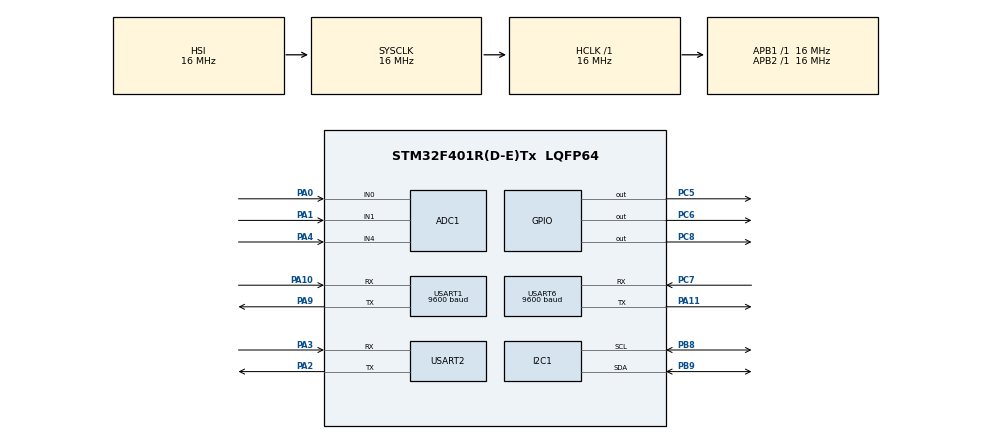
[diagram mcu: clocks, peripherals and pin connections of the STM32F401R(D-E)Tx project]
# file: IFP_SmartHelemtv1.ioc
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ADC1.Channel-0\#ChannelRegularConversion=ADC_CHANNEL_0
ADC1.NbrOfConversionFlag=1
ADC1.Rank-0\#ChannelRegularConversion=1
ADC1.SamplingTime-0\#ChannelRegularConversion=ADC_SAMPLETIME_3CYCLES
ADC1.master=1
Dma.Request0=USART1_RX
Dma.USART1_RX.0.Direction=DMA_PERIPH_TO_MEMORY
Dma.USART1_RX.0.FIFOMode=DMA_FIFOMODE_DISABLE
Dma.USART1_RX.0.Instance=DMA2_Stream2
Dma.USART1_RX.0.MemDataAlignment=DMA_MDATAALIGN_BYTE
Dma.USART1_RX.0.MemInc=DMA_MINC_ENABLE
Dma.USART1_RX.0.Mode=DMA_CIRCULAR
Dma.USART1_RX.0.PeriphDataAlignment=DMA_PDATAALIGN_BYTE
Dma.USART1_RX.0.PeriphInc=DMA_PINC_DISABLE
Dma.USART1_RX.0.Priority=DMA_PRIORITY_LOW
Mcu.Family=STM32F4
Mcu.Name=STM32F401R(D-E)Tx
Mcu.Package=LQFP64
NVIC.DMA2_Stream2_IRQn=true\:0\:0\:false\:false\:true\:false\:true\:true
NVIC.PriorityGroup=NVIC_PRIORITYGROUP_4
NVIC.USART6_IRQn=true\:0\:0\:false\:false\:true\:true\:true\:true
PA0-WKUP.Signal=ADCx_IN0
PA1.Signal=ADCx_IN1
PA10.Mode=Asynchronous
PA10.Signal=USART1_RX
PA11.Mode=Asynchronous
PA11.Signal=USART6_TX
PA2.Mode=Asynchronous
PA2.Signal=USART2_TX
PA3.Mode=Asynchronous
PA3.Signal=USART2_RX
PA4.Signal=ADCx_IN4
PA9.Mode=Asynchronous
PA9.Signal=USART1_TX
PB8.Mode=I2C
PB8.Signal=I2C1_SCL
PB9.Mode=I2C
PB9.Signal=I2C1_SDA
PC5.Signal=GPIO_Output
PC6.Signal=GPIO_Output
PC7.Mode=Asynchronous
PC7.Signal=USART6_RX
PC8.Signal=GPIO_Output
ProjectManager.HeapSize=0x200
ProjectManager.StackSize=0x400
ProjectManager.TargetToolchain=STM32CubeIDE
RCC.AHBFreq_Value=16000000
RCC.APB1Freq_Value=16000000
RCC.APB2Freq_Value=16000000
RCC.CortexFreq_Value=16000000
RCC.HSE_VALUE=25000000
RCC.HSI_VALUE=16000000
RCC.LSE_VALUE=32768
RCC.SYSCLKFreq_VALUE=16000000
RCC.VCOOutputFreq_Value=192000000
SH.ADCx_IN0.0=ADC1_IN0,IN0
SH.ADCx_IN1.0=ADC1_IN1,IN1
SH.ADCx_IN4.0=ADC1_IN4,IN4
USART1.BaudRate=9600
USART1.VirtualMode=VM_ASYNC
USART2.VirtualMode=VM_ASYNC
USART6.BaudRate=9600
USART6.VirtualMode=VM_ASYNC
board=custom

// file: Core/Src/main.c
/* USER CODE BEGIN Header */
/**
  ******************************************************************************
  * @file           : main.c
  * @brief          : Main program body
  ******************************************************************************
  * @attention
  *
  * Copyright (c) 2026 STMicroelectronics.
  * All rights reserved.
  *
  * This software is licensed under terms that can be found in the LICENSE file
  * in the root directory of this software component.
  * If no LICENSE file comes with this software, it is provided AS-IS.
  *
  ******************************************************************************
  */
/* USER CODE END Header */
#include "main.h"

/* USER CODE BEGIN Includes */

#include <stdio.h>
#include <math.h>
#include "ISM330DHCX.h"
#include "GPS.h"
#include "GSM.h"
/* USER CODE END Includes */

/* USER CODE BEGIN PTD */
ISM330DHCX_Handle_t hISM330;
ISM330DHCX_Data_t IMU_Data;

GPS_Handle_t hGPS;
GPS_Data_t GPS_Data;

GSM_Handle_t hGSM;

/* USER CODE END PTD */

ADC_HandleTypeDef hadc1;

I2C_HandleTypeDef hi2c1;

UART_HandleTypeDef huart1;
UART_HandleTypeDef huart2;
UART_HandleTypeDef huart6;
DMA_HandleTypeDef hdma_usart1_rx;

void SystemClock_Config(void);
static void MX_GPIO_Init(void);
static void MX_DMA_Init(void);
static void MX_I2C1_Init(void);
static void MX_USART1_UART_Init(void);
static void MX_USART2_UART_Init(void);
static void MX_ADC1_Init(void);
static void MX_USART6_UART_Init(void);

int main(void)
{

  /* MCU Configuration--------------------------------------------------------*/

  /* Reset of all peripherals, Initializes the Flash interface and the Systick. */
  HAL_Init();

  /* Configure the system clock */
  SystemClock_Config();

  /* Initialize all configured peripherals */
  MX_GPIO_Init();
  MX_DMA_Init();
  MX_I2C1_Init();
  MX_USART1_UART_Init();
  MX_USART2_UART_Init();
  MX_ADC1_Init();
  MX_USART6_UART_Init();
  /* USER CODE BEGIN 2 */

  ISM330DHCX_Init(&hISM330);

  GPS_Init(&hGPS,&huart1);
  GPS_StartDMAReception(&hGPS);

  GSM_Init(&hGSM,&huart6);

  printf("System Initialized\r\n");

  /* USER CODE END 2 */

  /* Infinite loop */
  /* USER CODE BEGIN WHILE */
  while (1)
  {
      /* Read IMU */
      ISM330DHCX_ReadAll(&hISM330, &IMU_Data);

      /* Process GPS DMA buffer */
      GPS_Process(&hGPS);

      printf("ACC: %.2f %.2f %.2f\r\n",
             IMU_Data.AccelX,
             IMU_Data.AccelY,
             IMU_Data.AccelZ);

      printf("GYR: %.2f %.2f %.2f\r\n",
             IMU_Data.GyroX,
             IMU_Data.GyroY,
             IMU_Data.GyroZ);

      /* Accident Detection */
      if( fabs(IMU_Data.AccelX) > 5.0f ||
          fabs(IMU_Data.AccelY) > 5.0f ||
          fabs(IMU_Data.AccelZ) > 5.0f )
      {
          printf("Possible Accident Detected\r\n");

          if(GPS_GetCoordinates(&hGPS,&GPS_Data) == GPS_OK)
          {
              printf("Latitude  : %.6f\r\n",
                     GPS_Data.latitude);

              printf("Longitude : %.6f\r\n",
                     GPS_Data.longitude);

              GSM_SendEmergencySMS(
                      &hGSM,
                      "+919876543210",
                      GPS_Data.latitude,
                      GPS_Data.longitude);

              printf("Emergency SMS Sent\r\n");

              HAL_Delay(10000);
          }
          else
          {
              printf("Waiting for GPS Fix...\r\n");
          }

      }

      HAL_Delay(100);

    /* USER CODE END WHILE */

  }
}

void SystemClock_Config(void)
{
  RCC_OscInitTypeDef RCC_OscInitStruct = {0};
  RCC_ClkInitTypeDef RCC_ClkInitStruct = {0};

  /** Configure the main internal regulator output voltage
  */
  __HAL_RCC_PWR_CLK_ENABLE();
  __HAL_PWR_VOLTAGESCALING_CONFIG(PWR_REGULATOR_VOLTAGE_SCALE2);

  /** Initializes the RCC Oscillators according to the specified parameters
  * in the RCC_OscInitTypeDef structure.
  */
  RCC_OscInitStruct.OscillatorType = RCC_OSCILLATORTYPE_HSI;
  RCC_OscInitStruct.HSIState = RCC_HSI_ON;
  RCC_OscInitStruct.HSICalibrationValue = RCC_HSICALIBRATION_DEFAULT;
  RCC_OscInitStruct.PLL.PLLState = RCC_PLL_NONE;
  if (HAL_RCC_OscConfig(&RCC_OscInitStruct) != HAL_OK)
  {
    Error_Handler();
  }

  /** Initializes the CPU, AHB and APB buses clocks
  */
  RCC_ClkInitStruct.ClockType = RCC_CLOCKTYPE_HCLK|RCC_CLOCKTYPE_SYSCLK
                              |RCC_CLOCKTYPE_PCLK1|RCC_CLOCKTYPE_PCLK2;
  RCC_ClkInitStruct.SYSCLKSource = RCC_SYSCLKSOURCE_HSI;
  RCC_ClkInitStruct.AHBCLKDivider = RCC_SYSCLK_DIV1;
  RCC_ClkInitStruct.APB1CLKDivider = RCC_HCLK_DIV1;
  RCC_ClkInitStruct.APB2CLKDivider = RCC_HCLK_DIV1;

  if (HAL_RCC_ClockConfig(&RCC_ClkInitStruct, FLASH_LATENCY_0) != HAL_OK)
  {
    Error_Handler();
  }
}

static void MX_ADC1_Init(void)
{

  ADC_ChannelConfTypeDef sConfig = {0};

  /** Configure the global features of the ADC (Clock, Resolution, Data Alignment and number of conversion)
  */
  hadc1.Instance = ADC1;
  hadc1.Init.ClockPrescaler = ADC_CLOCK_SYNC_PCLK_DIV2;
  hadc1.Init.Resolution = ADC_RESOLUTION_12B;
  hadc1.Init.ScanConvMode = DISABLE;
  hadc1.Init.ContinuousConvMode = DISABLE;
  hadc1.Init.DiscontinuousConvMode = DISABLE;
  hadc1.Init.ExternalTrigConvEdge = ADC_EXTERNALTRIGCONVEDGE_NONE;
  hadc1.Init.ExternalTrigConv = ADC_SOFTWARE_START;
  hadc1.Init.DataAlign = ADC_DATAALIGN_RIGHT;
  hadc1.Init.NbrOfConversion = 1;
  hadc1.Init.DMAContinuousRequests = DISABLE;
  hadc1.Init.EOCSelection = ADC_EOC_SINGLE_CONV;
  if (HAL_ADC_Init(&hadc1) != HAL_OK)
  {
    Error_Handler();
  }

  /** Configure for the selected ADC regular channel its corresponding rank in the sequencer and its sample time.
  */
  sConfig.Channel = ADC_CHANNEL_0;
  sConfig.Rank = 1;
  sConfig.SamplingTime = ADC_SAMPLETIME_3CYCLES;
  if (HAL_ADC_ConfigChannel(&hadc1, &sConfig) != HAL_OK)
  {
    Error_Handler();
  }

}

static void MX_I2C1_Init(void)
{

  hi2c1.Instance = I2C1;
  hi2c1.Init.ClockSpeed = 100000;
  hi2c1.Init.DutyCycle = I2C_DUTYCYCLE_2;
  hi2c1.Init.OwnAddress1 = 0;
  hi2c1.Init.AddressingMode = I2C_ADDRESSINGMODE_7BIT;
  hi2c1.Init.DualAddressMode = I2C_DUALADDRESS_DISABLE;
  hi2c1.Init.OwnAddress2 = 0;
  hi2c1.Init.GeneralCallMode = I2C_GENERALCALL_DISABLE;
  hi2c1.Init.NoStretchMode = I2C_NOSTRETCH_DISABLE;
  if (HAL_I2C_Init(&hi2c1) != HAL_OK)
  {
    Error_Handler();
  }

}

static void MX_USART1_UART_Init(void)
{

  huart1.Instance = USART1;
  huart1.Init.BaudRate = 9600;
  huart1.Init.WordLength = UART_WORDLENGTH_8B;
  huart1.Init.StopBits = UART_STOPBITS_1;
  huart1.Init.Parity = UART_PARITY_NONE;
  huart1.Init.Mode = UART_MODE_TX_RX;
  huart1.Init.HwFlowCtl = UART_HWCONTROL_NONE;
  huart1.Init.OverSampling = UART_OVERSAMPLING_16;
  if (HAL_UART_Init(&huart1) != HAL_OK)
  {
    Error_Handler();
  }

}

static void MX_USART2_UART_Init(void)
{

  huart2.Instance = USART2;
  huart2.Init.BaudRate = 115200;
  huart2.Init.WordLength = UART_WORDLENGTH_8B;
  huart2.Init.StopBits = UART_STOPBITS_1;
  huart2.Init.Parity = UART_PARITY_NONE;
  huart2.Init.Mode = UART_MODE_TX_RX;
  huart2.Init.HwFlowCtl = UART_HWCONTROL_NONE;
  huart2.Init.OverSampling = UART_OVERSAMPLING_16;
  if (HAL_UART_Init(&huart2) != HAL_OK)
  {
    Error_Handler();
  }

}

static void MX_USART6_UART_Init(void)
{

  huart6.Instance = USART6;
  huart6.Init.BaudRate = 9600;
  huart6.Init.WordLength = UART_WORDLENGTH_8B;
  huart6.Init.StopBits = UART_STOPBITS_1;
  huart6.Init.Parity = UART_PARITY_NONE;
  huart6.Init.Mode = UART_MODE_TX_RX;
  huart6.Init.HwFlowCtl = UART_HWCONTROL_NONE;
  huart6.Init.OverSampling = UART_OVERSAMPLING_16;
  if (HAL_UART_Init(&huart6) != HAL_OK)
  {
    Error_Handler();
  }

}

static void MX_DMA_Init(void)
{

  /* DMA controller clock enable */
  __HAL_RCC_DMA2_CLK_ENABLE();

  /* DMA interrupt init */
  /* DMA2_Stream2_IRQn interrupt configuration */
  HAL_NVIC_SetPriority(DMA2_Stream2_IRQn, 0, 0);
  HAL_NVIC_EnableIRQ(DMA2_Stream2_IRQn);

}

static void MX_GPIO_Init(void)
{
  GPIO_InitTypeDef GPIO_InitStruct = {0};

  /* GPIO Ports Clock Enable */
  __HAL_RCC_GPIOA_CLK_ENABLE();
  __HAL_RCC_GPIOC_CLK_ENABLE();
  __HAL_RCC_GPIOB_CLK_ENABLE();

  /*Configure GPIO pin Output Level */
  HAL_GPIO_WritePin(GPIOC, GPIO_PIN_5|GPIO_PIN_6|GPIO_PIN_8, GPIO_PIN_RESET);

  /*Configure GPIO pins : PC5 PC6 PC8 */
  GPIO_InitStruct.Pin = GPIO_PIN_5|GPIO_PIN_6|GPIO_PIN_8;
  GPIO_InitStruct.Mode = GPIO_MODE_OUTPUT_PP;
  GPIO_InitStruct.Pull = GPIO_NOPULL;
  GPIO_InitStruct.Speed = GPIO_SPEED_FREQ_LOW;
  HAL_GPIO_Init(GPIOC, &GPIO_InitStruct);

}

/* USER CODE BEGIN 4 */
int __io_putchar(int ch)
{
    HAL_UART_Transmit(&huart2, (uint8_t *)&ch, 1, HAL_MAX_DELAY);
    return ch;
}
/* USER CODE END 4 */

void Error_Handler(void)
{
  __disable_irq();
  while (1)
  {
  }
}
